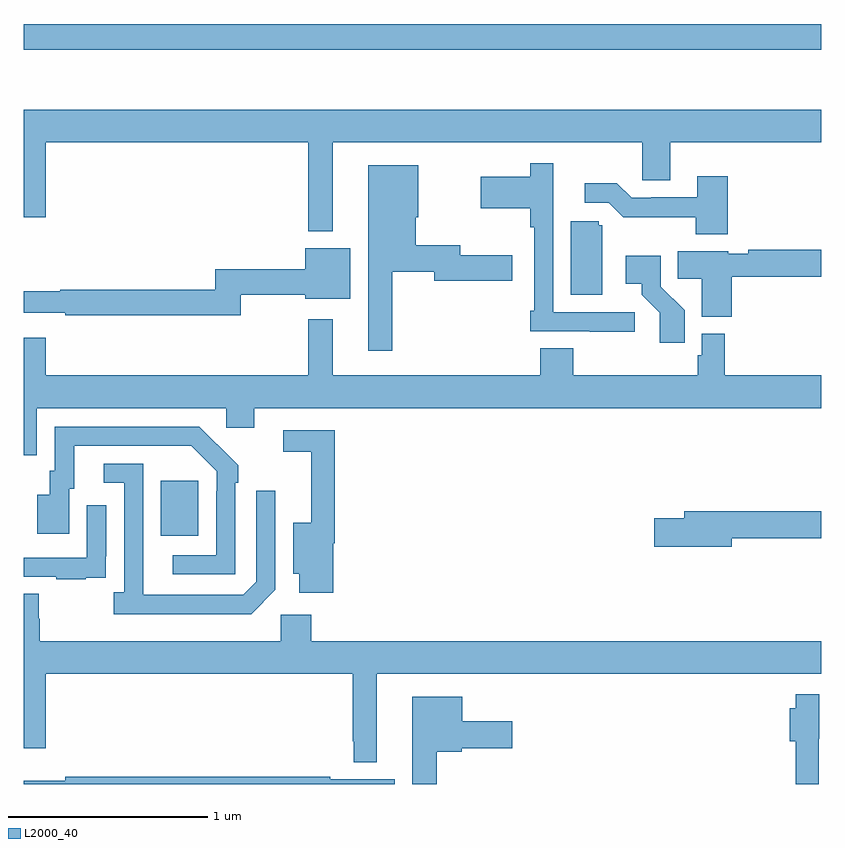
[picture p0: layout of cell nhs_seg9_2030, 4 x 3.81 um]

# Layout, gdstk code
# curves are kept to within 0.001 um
import gdstk
lib = gdstk.Library(unit=1e-6, precision=1e-09)
def R(c, l, rs):  # rectangles x0, y0, x1, y1
    for r in rs: c.add(gdstk.rectangle(r[:2], r[2:], *l))
def P(c, l, *ps):  # polygons
    for p in ps: c.add(gdstk.Polygon(p, *l))
L2000_40 = (2000, 40)

nhs_seg9_2030 = lib.new_cell('nhs_seg9_2030')
R(nhs_seg9_2030, L2000_40, [(225.689,1231.745,225.877,1232.02), (225,1234.182,229,1234.31)])
P(nhs_seg9_2030, L2000_40, [(226.549,1233.716),(228.102,1233.716),(228.102,1233.526),(228.241,1233.526),(228.241,1233.716),(229,1233.716),(229,1233.88),(225,1233.88),(225,1233.342),(225.112,1233.342),(225.112,1233.716),(226.428,1233.716),(226.428,1233.272),(226.549,1233.272)],
  [(228.064,1232.865),(227.655,1232.865),(227.655,1233.39),(227.656,1233.39),(227.656,1233.613),(227.539,1233.613),(227.539,1233.544),(227.292,1233.544),(227.292,1233.386),(227.539,1233.386),(227.539,1233.29),(227.559,1233.29),(227.559,1232.872),(227.539,1232.872),(227.539,1232.769),(227.839,1232.769),(227.839,1232.767),(228.064,1232.767)],
  [(226.849,1233.068),(227.06,1233.068),(227.06,1233.022),(227.449,1233.022),(227.449,1233.151),(227.188,1233.151),(227.188,1233.2),(226.966,1233.2),(226.966,1233.342),(226.978,1233.342),(226.978,1233.601),(226.727,1233.601),(226.727,1232.673),(226.849,1232.673)],
  [(228.53,1233.547),(228.377,1233.547),(228.377,1233.441),(228.148,1233.441),(228.148,1233.438),(228.048,1233.438),(227.975,1233.511),(227.814,1233.511),(227.814,1233.414),(227.934,1233.414),(228.007,1233.341),(228.37,1233.342),(228.37,1233.257),(228.53,1233.257)],
  [(227.902,1233.3),(227.883,1233.3),(227.883,1233.321),(227.744,1233.321),(227.744,1232.952),(227.902,1232.952)],
  [(226.09,1232.952),(226.412,1232.952),(226.412,1232.933),(226.639,1232.933),(226.639,1233.187),(226.412,1233.187),(226.412,1233.08),(225.961,1233.08),(225.961,1232.978),(225.184,1232.978),(225.184,1232.971),(225,1232.971),(225,1232.862),(225.208,1232.862),(225.208,1232.85),(226.09,1232.85)],
  [(228.551,1233.043),(229,1233.043),(229,1233.179),(228.634,1233.179),(228.634,1233.159),(228.534,1233.159),(228.534,1233.172),(228.28,1233.172),(228.28,1233.034),(228.401,1233.034),(228.401,1232.843),(228.551,1232.843)],
  [(228.314,1232.874),(228.195,1232.993),(228.195,1233.148),(228.018,1233.148),(228.018,1233.008),(228.098,1233.008),(228.098,1232.953),(228.189,1232.863),(228.189,1232.712),(228.314,1232.712)],
  [(225.067,1232.384),(226.017,1232.384),(226.017,1232.286),(226.156,1232.286),(226.156,1232.384),(229,1232.384),(229,1232.548),(228.515,1232.548),(228.515,1232.758),(228.399,1232.758),(228.399,1232.649),(228.379,1232.649),(228.379,1232.548),(227.756,1232.548),(227.756,1232.684),(227.591,1232.684),(227.591,1232.548),(226.549,1232.548),(226.549,1232.83),(226.428,1232.83),(226.428,1232.548),(225.112,1232.548),(225.112,1232.737),(225,1232.737),(225,1232.149),(225.067,1232.149)],
  [(226.062,1232.009),(226.077,1232.009),(226.077,1232.097),(225.88,1232.292),(225.156,1232.292),(225.156,1232.07),(225.131,1232.07),(225.131,1231.951),(225.068,1231.951),(225.068,1231.755),(225.229,1231.755),(225.229,1231.98),(225.253,1231.98),(225.253,1232.196),(225.841,1232.196),(225.969,1232.067),(225.969,1231.967),(225.966,1231.967),(225.966,1231.647),(225.747,1231.647),(225.747,1231.551),(226.062,1231.551)],
  [(226.553,1231.706),(226.559,1231.706),(226.559,1232.274),(226.302,1232.274),(226.302,1232.166),(226.442,1232.166),(226.442,1231.81),(226.352,1231.81),(226.352,1231.553),(226.382,1231.553),(226.382,1231.458),(226.553,1231.458)],
  [(226.263,1231.473),(226.263,1231.969),(226.167,1231.969),(226.167,1231.515),(226.101,1231.449),(225.601,1231.449),(225.6,1232.106),(225.402,1232.106),(225.402,1232.01),(225.504,1232.01),(225.504,1231.462),(225.453,1231.462),(225.453,1231.352),(226.142,1231.352)],
  [(225.311,1231.533),(225.413,1231.533),(225.413,1231.642),(225.414,1231.642),(225.414,1231.897),(225.318,1231.897),(225.318,1231.635),(225,1231.635),(225,1231.539),(225.163,1231.539),(225.163,1231.527),(225.311,1231.527)],
  [(228.55,1231.732),(229,1231.732),(229,1231.868),(228.311,1231.868),(228.311,1231.832),(228.162,1231.832),(228.162,1231.69),(228.55,1231.69)],
  [(226.771,1231.052),(229,1231.052),(229,1231.216),(226.442,1231.216),(226.442,1231.348),(226.29,1231.348),(226.29,1231.216),(225.08,1231.216),(225.08,1231.329),(225.075,1231.329),(225.075,1231.454),(225,1231.454),(225,1230.678),(225.112,1230.678),(225.112,1231.052),(226.65,1231.052),(226.65,1230.715),(226.656,1230.715),(226.656,1230.608),(226.771,1230.608)],
  [(228.987,1230.726),(228.988,1230.726),(228.988,1230.949),(228.871,1230.949),(228.871,1230.88),(228.842,1230.88),(228.842,1230.715),(228.871,1230.715),(228.871,1230.5),(228.987,1230.5)],
  [(227.071,1230.662),(227.196,1230.662),(227.196,1230.68),(227.449,1230.68),(227.449,1230.814),(227.2,1230.814),(227.2,1230.937),(226.949,1230.937),(226.949,1230.5),(227.071,1230.5)],
  [(226.861,1230.523),(226.538,1230.523),(226.538,1230.536),(225.208,1230.536),(225.208,1230.517),(225,1230.517),(225,1230.5),(226.861,1230.5)])

lib.write_gds('nhs_seg9_2030.gds')
